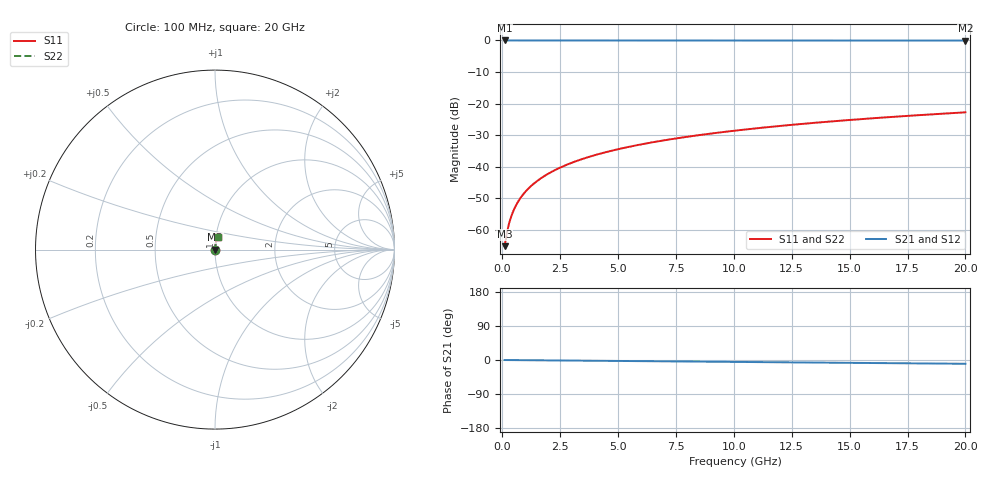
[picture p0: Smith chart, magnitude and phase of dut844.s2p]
! Touchstone file exported from HFSS 2026.1.0
!  File:  C:/ffzhzh/LocalFiles/Ansys_Project_Files/temp_train_TSV_844_1783185027_22436.aedt
!  Generated:  01:12:20 AM Jul  5, 2026
!  Design:  TSV
!  Project:  temp_train_TSV_844_1783185027_22436
! Variables:
!  h_bsmrdl = 2um
!  h_ox = 20um
!  h_rdl = 5um
!  h_sub = 90.46um
!  h_tmrdl = 5um
!  h_tsv = 90.46um
!  h_via = 3um
!  l_bsmrdl = 300um
!  l_sub = 411.24um
!  l_tmrdl = 200um
!  m_sub = 200um
!  pitch = 43.43um
!  r_tsv = 5.62um
!  s_tmrdl = 10um
!  w_bsmrdl = 18um
!  w_sub = 500um
!  w_tmrdl = 12um
!  x_tsv_center1 = 206um
!  x_tsv_center2 = 524um
!  x_tsv_center3 = 736um
!  x_tsv_center4 = 1054um
!  x_tsv_center5 = 1266um
!  x_tsv_center6 = 1584um
# GHz S MA R 50.000000
! Terminal data exported
! Port[1] = TSV1_1_T1
! Port[2] = TSV1_1_T2
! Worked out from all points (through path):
!   200 points, 100 MHz to 20 GHz, reference 50 ohm
!   highest |S21| = 0.00 dB at 100 MHz (marker M1); lowest = 0.0 dB at 20 GHz (marker M2)
!   group delay of S21, straight-line fit = 1.38 ps
!   lowest |S11| = -65.2 dB at 100 MHz (marker M3), VSWR 1.00, Z = 50 + j0.0412 ohm
!   |S11| at or under -10 dB: start of sweep to end of sweep
!   |S22| runs from -65.2 to -22.8 dB; largest |S21 - S12| = 3.2e-15
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0.1  0.0005467 48.8  0.9996 -0.1  0.9996 -0.1  0.0005467 48.8
! Gamma 0 0 0 0
! Port Impedance 50 0 50 0
0.2  0.0009005 65.7  0.9996 -0.1  0.9996 -0.1  0.0009005 65.7
0.3  0.001286 72.5  0.9996 -0.2  0.9996 -0.2  0.001286 72.5
0.4  0.001679 75.9  0.9996 -0.2  0.9996 -0.2  0.001679 75.9
0.5  0.002071 77.9  0.9996 -0.3  0.9996 -0.3  0.002071 77.9
0.6  0.002461 79.3  0.9996 -0.3  0.9996 -0.3  0.002461 79.3
0.7  0.002849 80.2  0.9995 -0.4  0.9995 -0.4  0.002849 80.2
0.8  0.003234 80.9  0.9995 -0.4  0.9995 -0.4  0.003234 80.9
1  0.003997 81.9  0.9995 -0.5  0.9995 -0.5  0.003997 81.9
1.4  0.00551 83.0  0.9994 -0.7  0.9994 -0.7  0.00551 83.0
1.7  0.006639 83.6  0.9993 -0.9  0.9993 -0.9  0.006639 83.6
2  0.007764 83.9  0.9993 -1.0  0.9993 -1.0  0.007764 83.9
2.7  0.01038 84.3  0.9992 -1.4  0.9992 -1.4  0.01038 84.3
3.5  0.01335 84.4  0.999 -1.8  0.999 -1.8  0.01335 84.4
4.2  0.01593 84.3  0.9989 -2.1  0.9989 -2.1  0.01593 84.3
5  0.01886 84.2  0.9987 -2.5  0.9987 -2.5  0.01886 84.2
6.8  0.0254 83.7  0.9984 -3.4  0.9984 -3.4  0.0254 83.7
8.3  0.03082 83.2  0.9981 -4.2  0.9981 -4.2  0.03082 83.2
10.1  0.0373 82.6  0.9978 -5.1  0.9978 -5.1  0.0373 82.6
13.4  0.04911 81.2  0.997 -6.7  0.997 -6.7  0.04911 81.2
16.7  0.06083 79.8  0.9962 -8.3  0.9962 -8.3  0.06083 79.8
20  0.07243 78.3  0.9952 -10.0  0.9952 -10.0  0.07243 78.3
